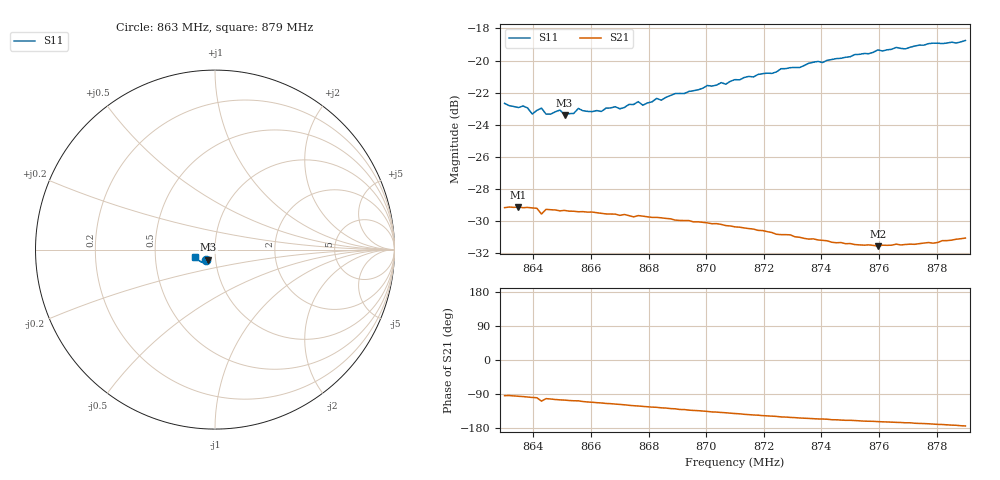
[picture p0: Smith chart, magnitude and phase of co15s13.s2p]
# HZ S RI R 50
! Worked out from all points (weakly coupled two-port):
!   101 points, 863 MHz to 879 MHz, reference 50 ohm
!   highest |S21| = -29.14 dB at 863.48 MHz (marker M1); lowest = -31.6 dB at 875.96 MHz (marker M2)
!   lowest |S11| = -23.4 dB at 865.08 MHz (marker M3), VSWR 1.15, Z = 46.1 - j5.18 ohm
!   |S11| at or under -10 dB: start of sweep to end of sweep
!   S12 and S22 are empty: the file has one direction only
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8.63e8  -0.0475 -0.0561  -0.00248 -0.0347  0 0  0 0
8.6348e8  -0.0442 -0.0559  -0.00347 -0.0347  0 0  0 0
8.638e8  -0.0438 -0.056  -0.00468 -0.0345  0 0  0 0
8.6396e8  -0.0395 -0.0555  -0.00534 -0.0343  0 0  0 0
8.6428e8  -0.0429 -0.0566  -0.0106 -0.0315  0 0  0 0
8.6444e8  -0.0406 -0.0545  -0.00711 -0.0336  0 0  0 0
8.6492e8  -0.0421 -0.056  -0.00888 -0.0328  0 0  0 0
8.6508e8  -0.0379 -0.056  -0.00929 -0.0328  0 0  0 0
8.654e8  -0.0396 -0.0557  -0.0102 -0.0323  0 0  0 0
8.6556e8  -0.0416 -0.0574  -0.0103 -0.0321  0 0  0 0
8.6572e8  -0.038 -0.0585  -0.0114 -0.0318  0 0  0 0
8.6636e8  -0.038 -0.058  -0.0132 -0.0306  0 0  0 0
8.6764e8  -0.039 -0.0634  -0.0171 -0.028  0 0  0 0
8.678e8  -0.0378 -0.0619  -0.0175 -0.0276  0 0  0 0
8.6828e8  -0.04 -0.0648  -0.0185 -0.0266  0 0  0 0
8.6844e8  -0.0381 -0.0648  -0.0191 -0.026  0 0  0 0
8.6892e8  -0.0415 -0.067  -0.0199 -0.0248  0 0  0 0
8.71e8  -0.0508 -0.0708  -0.0236 -0.0189  0 0  0 0
8.7372e8  -0.0687 -0.071  -0.0251 -0.0118  0 0  0 0
8.7596e8  -0.0866 -0.0643  -0.0251 -0.0079  0 0  0 0
8.7644e8  -0.0901 -0.0603  -0.0255 -0.0073  0 0  0 0
8.79e8  -0.1087 -0.0391  -0.0278 -0.00291  0 0  0 0
